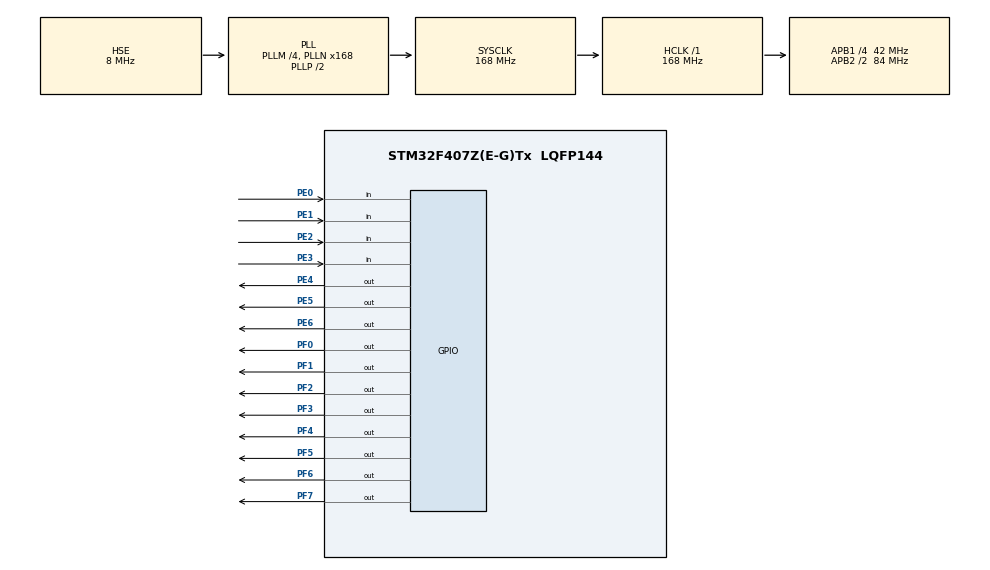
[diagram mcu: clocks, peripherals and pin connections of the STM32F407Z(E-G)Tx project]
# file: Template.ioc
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Mcu.Family=STM32F4
Mcu.Name=STM32F407Z(E-G)Tx
Mcu.Package=LQFP144
NVIC.PriorityGroup=NVIC_PRIORITYGROUP_4
PA13.Mode=Serial_Wire
PA13.Signal=SYS_JTMS-SWDIO
PA14.Mode=Serial_Wire
PA14.Signal=SYS_JTCK-SWCLK
PC14-OSC32_IN.Mode=LSE-External-Oscillator
PC14-OSC32_IN.Signal=RCC_OSC32_IN
PC15-OSC32_OUT.Mode=LSE-External-Oscillator
PC15-OSC32_OUT.Signal=RCC_OSC32_OUT
PE0.GPIO_Mode=GPIO_MODE_INPUT
PE0.GPIO_PuPd=GPIO_PULLUP
PE0.Signal=GPIO_Input
PE1.GPIO_Mode=GPIO_MODE_INPUT
PE1.GPIO_PuPd=GPIO_PULLUP
PE1.Signal=GPIO_Input
PE2.GPIO_Mode=GPIO_MODE_INPUT
PE2.GPIO_PuPd=GPIO_PULLUP
PE2.Signal=GPIO_Input
PE3.GPIO_Mode=GPIO_MODE_INPUT
PE3.GPIO_PuPd=GPIO_PULLUP
PE3.Signal=GPIO_Input
PE4.GPIO_ModeDefaultOutputPP=GPIO_MODE_OUTPUT_PP
PE4.GPIO_PuPd=GPIO_NOPULL
PE4.GPIO_Speed=GPIO_SPEED_FREQ_LOW
PE4.PinState=GPIO_PIN_SET
PE4.Signal=GPIO_Output
PE5.GPIO_ModeDefaultOutputPP=GPIO_MODE_OUTPUT_PP
PE5.GPIO_PuPd=GPIO_NOPULL
PE5.GPIO_Speed=GPIO_SPEED_FREQ_LOW
PE5.PinState=GPIO_PIN_SET
PE5.Signal=GPIO_Output
PE6.GPIO_ModeDefaultOutputPP=GPIO_MODE_OUTPUT_PP
PE6.GPIO_PuPd=GPIO_NOPULL
PE6.GPIO_Speed=GPIO_SPEED_FREQ_LOW
PE6.PinState=GPIO_PIN_SET
PE6.Signal=GPIO_Output
PF0.GPIO_ModeDefaultOutputPP=GPIO_MODE_OUTPUT_PP
PF0.GPIO_PuPd=GPIO_NOPULL
PF0.GPIO_Speed=GPIO_SPEED_FREQ_LOW
PF0.PinState=GPIO_PIN_SET
PF0.Signal=GPIO_Output
PF1.GPIO_ModeDefaultOutputPP=GPIO_MODE_OUTPUT_PP
PF1.GPIO_PuPd=GPIO_NOPULL
PF1.GPIO_Speed=GPIO_SPEED_FREQ_LOW
PF1.PinState=GPIO_PIN_SET
PF1.Signal=GPIO_Output
PF2.GPIO_ModeDefaultOutputPP=GPIO_MODE_OUTPUT_PP
PF2.GPIO_PuPd=GPIO_NOPULL
PF2.GPIO_Speed=GPIO_SPEED_FREQ_LOW
PF2.PinState=GPIO_PIN_SET
PF2.Signal=GPIO_Output
PF3.GPIO_ModeDefaultOutputPP=GPIO_MODE_OUTPUT_PP
PF3.GPIO_PuPd=GPIO_NOPULL
PF3.GPIO_Speed=GPIO_SPEED_FREQ_LOW
PF3.PinState=GPIO_PIN_SET
PF3.Signal=GPIO_Output
PF4.GPIO_ModeDefaultOutputPP=GPIO_MODE_OUTPUT_PP
PF4.GPIO_PuPd=GPIO_NOPULL
PF4.GPIO_Speed=GPIO_SPEED_FREQ_LOW
PF4.PinState=GPIO_PIN_SET
PF4.Signal=GPIO_Output
PF5.GPIO_ModeDefaultOutputPP=GPIO_MODE_OUTPUT_PP
PF5.GPIO_PuPd=GPIO_NOPULL
PF5.GPIO_Speed=GPIO_SPEED_FREQ_LOW
PF5.PinState=GPIO_PIN_SET
PF5.Signal=GPIO_Output
PF6.GPIO_ModeDefaultOutputPP=GPIO_MODE_OUTPUT_PP
PF6.GPIO_PuPd=GPIO_NOPULL
PF6.GPIO_Speed=GPIO_SPEED_FREQ_LOW
PF6.PinState=GPIO_PIN_SET
PF6.Signal=GPIO_Output
PF7.GPIO_ModeDefaultOutputPP=GPIO_MODE_OUTPUT_PP
PF7.GPIO_PuPd=GPIO_NOPULL
PF7.GPIO_Speed=GPIO_SPEED_FREQ_LOW
PF7.PinState=GPIO_PIN_SET
PF7.Signal=GPIO_Output
PH0-OSC_IN.Mode=HSE-External-Oscillator
PH0-OSC_IN.Signal=RCC_OSC_IN
PH1-OSC_OUT.Mode=HSE-External-Oscillator
PH1-OSC_OUT.Signal=RCC_OSC_OUT
ProjectManager.HeapSize=0x200
ProjectManager.StackSize=0x400
ProjectManager.TargetToolchain=MDK-ARM V5.32
RCC.48MHZClocksFreq_Value=84000000
RCC.AHBFreq_Value=168000000
RCC.APB1CLKDivider=RCC_HCLK_DIV4
RCC.APB1Freq_Value=42000000
RCC.APB1TimFreq_Value=84000000
RCC.APB2CLKDivider=RCC_HCLK_DIV2
RCC.APB2Freq_Value=84000000
RCC.APB2TimFreq_Value=168000000
RCC.CortexFreq_Value=168000000
RCC.HCLKFreq_Value=168000000
RCC.HSE_VALUE=8000000
RCC.HSI_VALUE=16000000
RCC.PLLM=4
RCC.PLLN=168
RCC.PLLSourceVirtual=RCC_PLLSOURCE_HSE
RCC.SYSCLKFreq_VALUE=168000000
RCC.SYSCLKSource=RCC_SYSCLKSOURCE_PLLCLK
RCC.VCOOutputFreq_Value=336000000
board=custom

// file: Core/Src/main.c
/* USER CODE BEGIN Header */
/**
  ******************************************************************************
  * @file           : main.c
  * @brief          : Main program body
  ******************************************************************************
  * @attention
  *
  * Copyright (c) 2026 STMicroelectronics.
  * All rights reserved.
  *
  * This software is licensed under terms that can be found in the LICENSE file
  * in the root directory of this software component.
  * If no LICENSE file comes with this software, it is provided AS-IS.
  *
  ******************************************************************************
  */
/* USER CODE END Header */
#include "main.h"
#include "gpio.h"

/* USER CODE BEGIN PV */
void delay_us(uint32_t nus)
{
    uint32_t temp;
    SysTick->LOAD = nus * 168;
    SysTick->VAL  = 0x00;
    SysTick->CTRL |= SysTick_CTRL_ENABLE_Msk;
    do
    {
        temp = SysTick->CTRL;
    } while((temp & 0x01) && !(temp & (1 << 16)));
    SysTick->CTRL &= ~SysTick_CTRL_ENABLE_Msk;
    SysTick->VAL  = 0x00;
}

/* USER CODE END PV */

void SystemClock_Config(void);

int main(void)
{uint16_t i,KeyVal=0;
	uint8_t PreLine[3]={2,0,1};

  /* MCU Configuration--------------------------------------------------------*/

  /* Reset of all peripherals, Initializes the Flash interface and the Systick. */
  HAL_Init();

  /* Configure the system clock */
  SystemClock_Config();

  /* Initialize all configured peripherals */
  MX_GPIO_Init();

  /* Infinite loop */
  /* USER CODE BEGIN WHILE */
  while (1)
  {for(i=0;i<3;i++)
		{
			if((GPIOE->IDR&0x0F)!=0x0F)
			{
				HAL_Delay(16);
				if((GPIOE->IDR&0x0F)!=0x0F)
				{
					switch((GPIOE->IDR&0x0F))
					{
						case 0x0E:KeyVal=4*PreLine[i]+1;break;
						case 0x0D:KeyVal=4*PreLine[i]+2;break;
						case 0x0B:KeyVal=4*PreLine[i]+3;break;
						case 0x07:KeyVal=4*PreLine[i]+4;break;
						default :break;
					}
				}
			}
			GPIOE->ODR =~ (1 << (i+4));
		}
		GPIOF->ODR =~ ((KeyVal/10<<4)+KeyVal%10);
	}
}
    /* USER CODE END WHILE */

    /* USER CODE BEGIN 3 */

void SystemClock_Config(void)
{
  RCC_OscInitTypeDef RCC_OscInitStruct = {0};
  RCC_ClkInitTypeDef RCC_ClkInitStruct = {0};

  /** Configure the main internal regulator output voltage
  */
  __HAL_RCC_PWR_CLK_ENABLE();
  __HAL_PWR_VOLTAGESCALING_CONFIG(PWR_REGULATOR_VOLTAGE_SCALE1);

  /** Initializes the RCC Oscillators according to the specified parameters
  * in the RCC_OscInitTypeDef structure.
  */
  RCC_OscInitStruct.OscillatorType = RCC_OSCILLATORTYPE_HSE;
  RCC_OscInitStruct.HSEState = RCC_HSE_ON;
  RCC_OscInitStruct.PLL.PLLState = RCC_PLL_ON;
  RCC_OscInitStruct.PLL.PLLSource = RCC_PLLSOURCE_HSE;
  RCC_OscInitStruct.PLL.PLLM = 4;
  RCC_OscInitStruct.PLL.PLLN = 168;
  RCC_OscInitStruct.PLL.PLLP = RCC_PLLP_DIV2;
  RCC_OscInitStruct.PLL.PLLQ = 4;
  if (HAL_RCC_OscConfig(&RCC_OscInitStruct) != HAL_OK)
  {
    Error_Handler();
  }

  /** Initializes the CPU, AHB and APB buses clocks
  */
  RCC_ClkInitStruct.ClockType = RCC_CLOCKTYPE_HCLK|RCC_CLOCKTYPE_SYSCLK
                              |RCC_CLOCKTYPE_PCLK1|RCC_CLOCKTYPE_PCLK2;
  RCC_ClkInitStruct.SYSCLKSource = RCC_SYSCLKSOURCE_PLLCLK;
  RCC_ClkInitStruct.AHBCLKDivider = RCC_SYSCLK_DIV1;
  RCC_ClkInitStruct.APB1CLKDivider = RCC_HCLK_DIV4;
  RCC_ClkInitStruct.APB2CLKDivider = RCC_HCLK_DIV2;

  if (HAL_RCC_ClockConfig(&RCC_ClkInitStruct, FLASH_LATENCY_5) != HAL_OK)
  {
    Error_Handler();
  }
}

void Error_Handler(void)
{
  __disable_irq();
  while (1)
  {
  }
}
